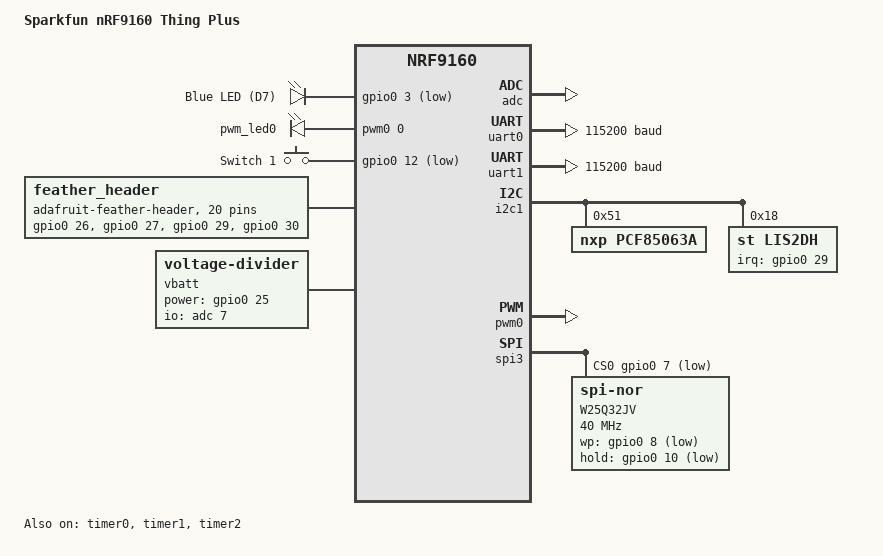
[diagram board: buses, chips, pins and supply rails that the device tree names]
/*
 * Copyright (c) 2018-2020 Nordic Semiconductor ASA
 * Copyright (c) 2020 Circuit Dojo LLC
 *
 * SPDX-License-Identifier: Apache-2.0
 */
#include "sparkfun_thing_plus_nrf9160_common-pinctrl.dtsi"

/ {
	model = "Sparkfun nRF9160 Thing Plus";
	compatible = "sparkfun,thing-plus-nrf9160";

	chosen {
		zephyr,console = &uart0;
		zephyr,shell-uart = &uart0;
		zephyr,uart-mcumgr = &uart0;
	};

	leds {
		compatible = "gpio-leds";
		blue_led: led_0 {
			gpios = <&gpio0 3 GPIO_ACTIVE_LOW>;
			label = "Blue LED (D7)";
		};
	};

	pwmleds {
		compatible = "pwm-leds";
		pwm_led0: pwm_led_0 {
			pwms = <&pwm0 0 PWM_MSEC(20) PWM_POLARITY_INVERTED>;
		};
	};

	buttons {
		compatible = "gpio-keys";
		button0: button_0 {
			gpios = <&gpio0 12 (GPIO_PULL_UP | GPIO_ACTIVE_LOW)>;
			label = "Switch 1";
		};
	};

	/* These aliases are provided for compatibility with samples */
	aliases {
		led0 = &blue_led;
		bootloader-led0 = &blue_led;
		pwm-led0 = &pwm_led0;
		sw0 = &button0;
		mcuboot-button0 = &button0;
		mcuboot-led0 = &blue_led;
	};

	/* Used for accessing other pins */
	feather_header: feather_connector {
		compatible = "adafruit-feather-header";
		#gpio-cells = <2>;
		gpio-map-mask = <0xffffffff 0xffffffc0>;
		gpio-map-pass-thru = <0 0x3f>;
		gpio-map = <12 0 &gpio0 26 0>,  /* SDA */
		<13 0 &gpio0 27 0>,  /* SCL */
		<14 0 &gpio0 29 0>,  /* PWM3 */
		<15 0 &gpio0 30 0>,  /* PWM3 */
		<16 0 &gpio0 0 0>,   /* PWM1 */
		<17 0 &gpio0 1 0>,   /* PWM1 */
		<18 0 &gpio0 2 0>,   /* PWM1 */
		<19 0 &gpio0 3 0>,   /* PWM0 */
		<20 0 &gpio0 4 0>,   /* PWM1 */
		/* 11 not connected */
		<10 0 &gpio0 24 0>,  /* TX */
		<9 0 &gpio0 23 0>,   /* RX */
		<8 0 &gpio0 22 0>,   /* MISO */
		<7 0 &gpio0 21 0>,   /* MOSI */
		<6 0 &gpio0 19 0>,   /* SCK */
		<5 0 &gpio0 18 0>,   /* SS */
		<4 0 &gpio0 17 0>,   /* ADC4 = AIN6 */
		<3 0 &gpio0 16 0>,   /* ADC3 = AIN5 */
		<2 0 &gpio0 15 0>,   /* ADC2 = AIN4 */
		<1 0 &gpio0 14 0>,   /* ADC1 = AIN2 */
		<0 0 &gpio0 13 0>;   /* ADC0 = AIN1 */
	};
};

&adc {
	status = "okay";
};

&gpiote {
	status = "okay";
};

&gpio0 {
	status = "okay";
};

&uart0 {
	status = "okay";
	current-speed = <115200>;
	pinctrl-0 = <&uart0_default>;
	pinctrl-1 = <&uart0_sleep>;
	pinctrl-names = "default", "sleep";
};

&uart1 {
	current-speed = <115200>;
	pinctrl-0 = <&uart1_default>;
	pinctrl-1 = <&uart1_sleep>;
	pinctrl-names = "default", "sleep";
};

&uart2 {
	pinctrl-0 = <&uart2_default>;
	pinctrl-1 = <&uart2_sleep>;
	pinctrl-names = "default", "sleep";
};

&i2c1 {
	compatible = "nordic,nrf-twim";
	status = "okay";

	pinctrl-0 = <&i2c1_default>;
	pinctrl-1 = <&i2c1_sleep>;
	pinctrl-names = "default", "sleep";
	pcf85063a@51 {
		compatible = "nxp,pcf85063a";
		label = "PCF85063A";
		reg = <0x51>;
	};

	lis2dh@18 {
		compatible = "st,lis2dh";
		label = "LIS2DH";
		reg = <0x18>;
		irq-gpios = <&gpio0 29 0>;
	};

};

&pwm0 {
	status = "okay";
	pinctrl-0 = <&pwm0_default>;
	pinctrl-1 = <&pwm0_sleep>;
	pinctrl-names = "default", "sleep";
};

&spi3 {
	compatible = "nordic,nrf-spim";
	status = "okay";
	cs-gpios = <&gpio0 7 GPIO_ACTIVE_LOW>;
	pinctrl-0 = <&spi3_default>;
	pinctrl-1 = <&spi3_sleep>;
	pinctrl-names = "default", "sleep";
	w25q32jv: w25q32jv@0 {
		compatible = "jedec,spi-nor";
		label = "W25Q32JV";
		reg = <0>;
		spi-max-frequency = <40000000>;
		wp-gpios = <&gpio0 8 GPIO_ACTIVE_LOW>;
		hold-gpios = <&gpio0 10 GPIO_ACTIVE_LOW>;
		size = <0x2000000>;
		has-dpd;
		t-enter-dpd = <3000>;
		t-exit-dpd = <30000>;
		jedec-id = [ ef 40 16 ];
	};
};

&timer0 {
	status = "okay";
};

&timer1 {
	status = "okay";
};

&timer2 {
	status = "okay";
};

&flash0 {
	partitions {
		compatible = "fixed-partitions";
		#address-cells = <1>;
		#size-cells = <1>;

		boot_partition: partition@0 {
			label = "mcuboot";
			reg = <0x00000000 0x10000>;
		};
		slot0_partition: partition@10000 {
			label = "image-0";
		};
		slot0_ns_partition: partition@40000 {
			label = "image-0-nonsecure";
		};
		slot1_partition: partition@80000 {
			label = "image-1";
		};
		slot1_ns_partition: partition@b0000 {
			label = "image-1-nonsecure";
		};
		scratch_partition: partition@f0000 {
			label = "image-scratch";
			reg = <0x000f0000 0xa000>;
		};
		storage_partition: partition@fa000 {
			label = "storage";
			reg = <0x000fa000 0x00006000>;
		};
	};
};

/ {

	reserved-memory {
		#address-cells = <1>;
		#size-cells = <1>;
		ranges;

		sram0_s: image_s@20000000 {
			/* Secure image memory */
		};

		sram0_bsd: image_bsd@20010000 {
			/* BSD (shared) memory */
		};

		sram0_ns: image_ns@20020000 {
			/* Non-Secure image memory */
		};
	};
};

/ {
	vbatt {
		compatible = "voltage-divider";
		io-channels = <&adc 7>;
		output-ohms = <100000>;
		full-ohms = <(100000 + 100000)>;
		power-gpios = <&gpio0 25 0>;
	};
};

/* Include partition configuration file */
#include "sparkfun_thing_plus_nrf9160_partition_conf.dts"
